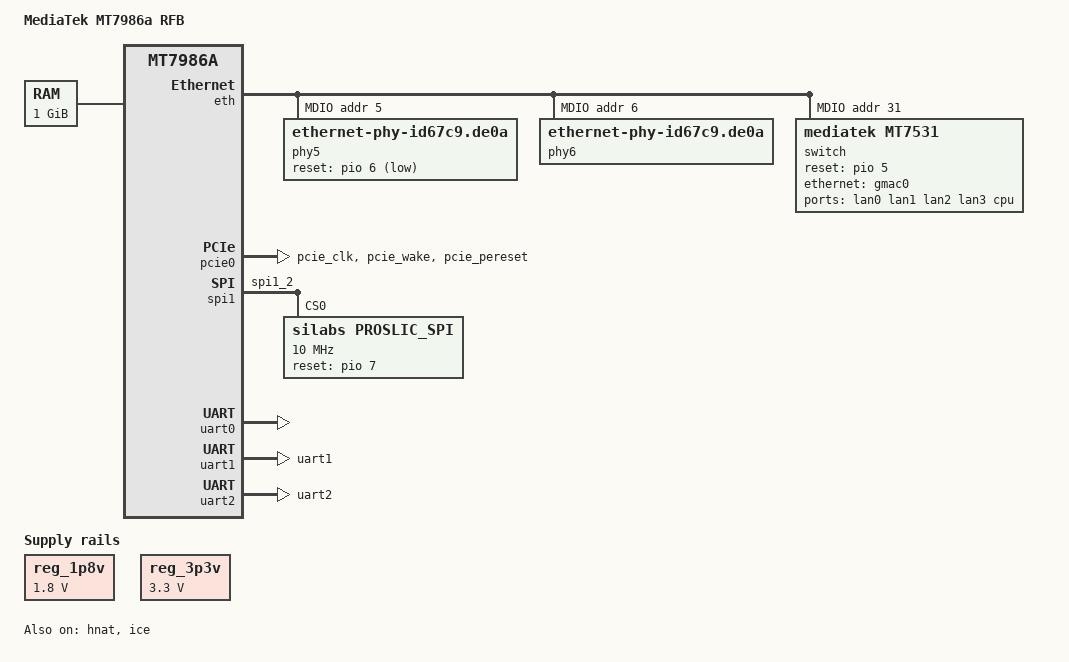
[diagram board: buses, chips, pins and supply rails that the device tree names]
// SPDX-License-Identifier: (GPL-2.0 OR MIT)
/*
 * Copyright (C) 2021 MediaTek Inc.
 * Author: Sam.Shih <sam.shih@mediatek.com>
 */

/dts-v1/;
#include "mt7986a.dtsi"

/ {
	model = "MediaTek MT7986a RFB";
	compatible = "mediatek,mt7986a-rfb";

	aliases {
		serial0 = &uart0;
	};

	chosen {
		stdout-path = "serial0:115200n8";
	};

	memory {
		reg = <0 0x40000000 0 0x40000000>;
	};

	nmbm {
		compatible = "generic,nmbm";
		#address-cells = <1>;
		#size-cells = <1>;
		forced-create;
		status = "disabled";
	};

	reg_1p8v: regulator-1p8v {
		compatible = "regulator-fixed";
		regulator-name = "fixed-1.8V";
		regulator-min-microvolt = <1800000>;
		regulator-max-microvolt = <1800000>;
		regulator-boot-on;
		regulator-always-on;
	};

	reg_3p3v: regulator-3p3v {
		compatible = "regulator-fixed";
		regulator-name = "fixed-3.3V";
		regulator-min-microvolt = <3300000>;
		regulator-max-microvolt = <3300000>;
		regulator-boot-on;
		regulator-always-on;
	};
};

&eth {
	status = "okay";

	gmac0: mac@0 {
		compatible = "mediatek,eth-mac";
		reg = <0>;
		phy-mode = "2500base-x";

		fixed-link {
			speed = <2500>;
			full-duplex;
			pause;
		};
	};

	gmac1: mac@1 {
		compatible = "mediatek,eth-mac";
		reg = <1>;
		phy-mode = "2500base-x";

		fixed-link {
			speed = <2500>;
			full-duplex;
			pause;
		};
	};

	mdio: mdio-bus {
		#address-cells = <1>;
		#size-cells = <0>;
	};
};

&hnat {
	mtketh-wan = "eth1";
	mtketh-lan = "lan";
	mtketh-max-gmac = <2>;
	status = "okay";
};

&ice {
	pinctrl-names = "default";
	pinctrl-0 = <&jtag_pins>;
	status = "okay";
};

&mdio {
	phy5: phy@5 {
		compatible = "ethernet-phy-id67c9.de0a";
		reg = <5>;
		reset-gpios = <&pio 6 1>;
		reset-deassert-us = <20000>;
		phy-mode = "2500base-x";
	};

	phy6: phy@6 {
		compatible = "ethernet-phy-id67c9.de0a";
		reg = <6>;
		phy-mode = "2500base-x";
	};

	switch: switch@0 {
		compatible = "mediatek,mt7531";
		reg = <31>;
		reset-gpios = <&pio 5 0>;
	};
};

&mmc0 {
	pinctrl-names = "default", "state_uhs";
	pinctrl-0 = <&mmc0_pins_default>;
	pinctrl-1 = <&mmc0_pins_uhs>;
	bus-width = <8>;
	max-frequency = <200000000>;
	cap-mmc-highspeed;
	mmc-hs200-1_8v;
	mmc-hs400-1_8v;
	hs400-ds-delay = <0x14014>;
	vmmc-supply = <&reg_3p3v>;
	vqmmc-supply = <&reg_1p8v>;
	non-removable;
	no-sd;
	no-sdio;
	status = "disabled";
};

&pcie0 {
	pinctrl-names = "default";
	pinctrl-0 = <&pcie0_pins>;
	status = "okay";
};

&pio {
	jtag_pins: jtag-pins-11-to-15 {
		mux {
			function = "jtag";
			groups = "jtag";
		};
	};

	mmc0_pins_default: mmc0-pins-50-to-61-default {
		mux {
			function = "emmc";
			groups = "emmc_51";
		};
		conf-cmd-dat {
			pins = "EMMC_DATA_0", "EMMC_DATA_1", "EMMC_DATA_2",
			       "EMMC_DATA_3", "EMMC_DATA_4", "EMMC_DATA_5",
			       "EMMC_DATA_6", "EMMC_DATA_7", "EMMC_CMD";
			input-enable;
			drive-strength = <4>;
			mediatek,pull-up-adv = <1>;	/* pull-up 10K */
		};
		conf-clk {
			pins = "EMMC_CK";
			drive-strength = <6>;
			mediatek,pull-down-adv = <2>;	/* pull-down 50K */
		};
		conf-ds {
			pins = "EMMC_DSL";
			mediatek,pull-down-adv = <2>;	/* pull-down 50K */
		};
		conf-rst {
			pins = "EMMC_RSTB";
			drive-strength = <4>;
			mediatek,pull-up-adv = <1>;	/* pull-up 10K */
		};
	};

	mmc0_pins_uhs: mmc0-pins-50-to-61-uhs {
		mux {
			function = "emmc";
			groups = "emmc_51";
		};
		conf-cmd-dat {
			pins = "EMMC_DATA_0", "EMMC_DATA_1", "EMMC_DATA_2",
			       "EMMC_DATA_3", "EMMC_DATA_4", "EMMC_DATA_5",
			       "EMMC_DATA_6", "EMMC_DATA_7", "EMMC_CMD";
			input-enable;
			drive-strength = <4>;
			mediatek,pull-up-adv = <1>;	/* pull-up 10K */
		};
		conf-clk {
			pins = "EMMC_CK";
			drive-strength = <6>;
			mediatek,pull-down-adv = <2>;	/* pull-down 50K */
		};
		conf-ds {
			pins = "EMMC_DSL";
			mediatek,pull-down-adv = <2>;	/* pull-down 50K */
		};
		conf-rst {
			pins = "EMMC_RSTB";
			drive-strength = <4>;
			mediatek,pull-up-adv = <1>;	/* pull-up 10K */
		};
	};

	pcie0_pins: pcie0-pins-9-10-41 {
		mux {
			function = "pcie";
			groups = "pcie_clk", "pcie_wake", "pcie_pereset";
		};
	};

	spic_pins_g2: spic-pins-29-to-32 {
		mux {
			function = "spi";
			groups = "spi1_2";
		};
	};

	snfi_pins: snfi-pins-23-to-28 {
		mux {
			function = "flash";
			groups = "snfi";
		};
		conf-clk {
			pins = "SPI0_CLK";
			drive-strength = <8>;
			mediatek,pull-down-adv = <0>;	/* bias-disable */
		};
		conf-pu {
			pins = "SPI0_CS", "SPI0_HOLD", "SPI0_WP";
			drive-strength = <6>;
			mediatek,pull-up-adv = <0>;	/* bias-disable */
		};
		conf-pd {
			pins = "SPI0_MOSI", "SPI0_MISO";
			drive-strength = <6>;
			mediatek,pull-down-adv = <0>;	/* bias-disable */
		};
	};

	spi_flash_pins: spi-flash-pins-33-to-38 {
		mux {
			function = "spi";
			groups = "spi0", "spi0_wp_hold";
		};
		conf-pu {
			pins = "SPI2_CS", "SPI2_HOLD", "SPI2_WP";
			drive-strength = <8>;
			mediatek,pull-up-adv = <0>;	/* bias-disable */
		};
		conf-pd {
			pins = "SPI2_CLK", "SPI2_MOSI", "SPI2_MISO";
			drive-strength = <8>;
			mediatek,pull-down-adv = <0>;	/* bias-disable */
		};
	};

	uart1_pins: uart1-pins {
		mux {
			function = "uart";
			groups = "uart1";
		};
	};

	uart2_pins: uart2-pins {
		mux {
			function = "uart";
			groups = "uart2";
		};
	};
};

&snand {
	pinctrl-names = "default";
	pinctrl-0 = <&snfi_pins>;
	mediatek,quad-spi;
	status = "disabled";
};

&spi0 {
	pinctrl-names = "default";
	pinctrl-0 = <&spi_flash_pins>;
	cs-gpios = <0>, <0>;
	#address-cells = <1>;
	#size-cells = <0>;
	status = "disabled";
};

&spi1 {
	pinctrl-names = "default";
	pinctrl-0 = <&spic_pins_g2>;
	status = "okay";

	proslic_spi: proslic_spi@0 {
		compatible = "silabs,proslic_spi";
		reg = <0>;
		spi-max-frequency = <10000000>;
		spi-cpha = <1>;
		spi-cpol = <1>;
		channel_count = <1>;
		debug_level = <4>;       /* 1 = TRC, 2 = DBG, 4 = ERR */
		reset_gpio = <&pio 7 0>;
		ig,enable-spi = <1>;     /* 1: Enable, 0: Disable */
	};
};

&switch {
	ports {
		#address-cells = <1>;
		#size-cells = <0>;

		port@0 {
			reg = <0>;
			label = "lan0";
		};

		port@1 {
			reg = <1>;
			label = "lan1";
		};

		port@2 {
			reg = <2>;
			label = "lan2";
		};

		port@3 {
			reg = <3>;
			label = "lan3";
		};

		port@6 {
			reg = <6>;
			label = "cpu";
			ethernet = <&gmac0>;
			phy-mode = "2500base-x";

			fixed-link {
				speed = <2500>;
				full-duplex;
				pause;
			};
		};
	};
};

&uart0 {
	status = "okay";
};

&uart1 {
	pinctrl-names = "default";
	pinctrl-0 = <&uart1_pins>;
	status = "okay";
};

&uart2 {
	pinctrl-names = "default";
	pinctrl-0 = <&uart2_pins>;
	status = "okay";
};
